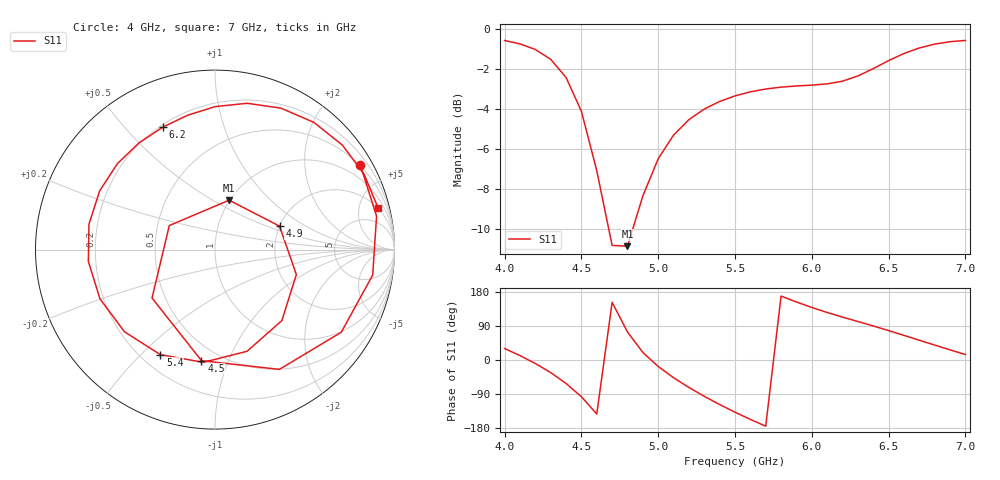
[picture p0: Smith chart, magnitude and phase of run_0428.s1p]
! Touchstone file exported from HFSS 2024.2.0
!  File:  C:/Users/wsak9/Desktop/Sim Fast/Widenad Patch/WP_AI_V1_sweep.aedt
!  Generated:  09:33:32 AM Oct 14, 2026
!  Design:  A1_model
!  Project:  WP_AI_V1_sweep
!  Setup:  Setup1
!  Solution:  Sweep
! Variables:
!  Air_gap = 2.87mm
!  Curve_Amp1 = 0.94
!  Curve_len1 = 1
!  Curve_pos = 11.775mm
!  Extra = 6.03mm
!  H_sub = 0.79mm
!  L_Patch = 19.55mm
!  L_Patch1 = 14.08mm
!  Sx = 2.13mm
!  Sy = 1.07mm
!  WS = 0.96mm
!  W_Patch = 21.01mm
!  W_Patch1 = 8.05mm
!Data is not renormalized
# GHz S MA
! Terminal data exported
! Port[1] = 1
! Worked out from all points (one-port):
!   31 points, 4 GHz to 7 GHz, reference per port
!   lowest |S11| = -10.9 dB at 4.8 GHz (marker M1), VSWR 1.80
!   |S11| at or under -10 dB: 4.678 GHz to 4.834 GHz (156.1 MHz wide, 3.28 % of centre)
!   S11 on the Smith chart (normalised r, x): 4 GHz: 0.47, +3.64; 4.5 GHz: 0.40, -0.80; 4.9 GHz: 2.00, +0.61; 5.4 GHz: 0.28, -0.57; 6.2 GHz: 0.21, +0.64; 7 GHz: 1.92, +7.41
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4  0.9373 30.3
4.1  0.9192 11.7
4.2  0.89 -9.2
4.3  0.8409 -33.2
4.4  0.7575 -61.8
4.5  0.6234 -96.9
4.6  0.4425 -142.5
4.7  0.2877 152.2
4.8  0.2865 74.0
4.9  0.3825 20.0
5  0.4742 -17.1
5.1  0.5434 -46.7
5.2  0.594 -72.5
5.3  0.6314 -95.9
5.4  0.6597 -117.5
5.5  0.6811 -137.8
5.6  0.6971 -156.8
5.7  0.7087 -174.6
5.8  0.7164 168.6
5.9  0.7212 153.0
6  0.7247 138.6
6.2  0.7415 113.2
6.3  0.7639 101.5
6.5  0.8346 77.6
6.6  0.8697 65.0
6.7  0.8978 52.1
6.9  0.9309 26.8
7  0.9375 14.4
